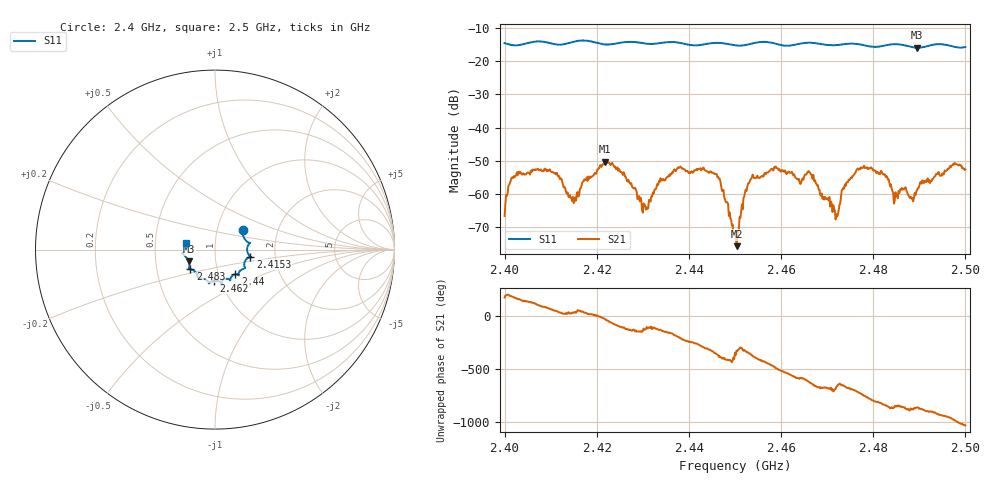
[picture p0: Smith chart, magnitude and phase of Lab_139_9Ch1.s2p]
# Hz S RI R 50
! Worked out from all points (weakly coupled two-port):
!   601 points, 2.4 GHz to 2.5 GHz, reference 50 ohm
!   highest |S21| = -50.29 dB at 2.4218 GHz (marker M1); lowest = -75.9 dB at 2.4503 GHz (marker M2)
!   lowest |S11| = -15.9 dB at 2.4895 GHz (marker M3), VSWR 1.38, Z = 36.9 - j4.99 ohm
!   |S11| at or under -10 dB: start of sweep to end of sweep
!   S12 and S22 are empty: the file has one direction only
!   S11 on the Smith chart (normalised r, x): 2.4 GHz: 1.33, +0.29; 2.4153 GHz: 1.48, -0.12; 2.44 GHz: 1.20, -0.34; 2.462 GHz: 0.93, -0.33; 2.483 GHz: 0.74, -0.17; 2.5 GHz: 0.72, +0.06
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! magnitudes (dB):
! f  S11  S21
! 2.4 GHz  -14.5  -66.7
! 2.4017 GHz  -15.1  -55.1
! 2.4068 GHz  -14.0  -52.8
! 2.4153 GHz  -14.0  -61.1
! 2.4167 GHz  -13.7  -57.7
! 2.4218 GHz  -14.9  -50.3
! 2.4303 GHz  -14.6  -63.3
! 2.4333 GHz  -14.6  -57.4
! 2.44 GHz  -15.0  -53.8
! 2.4463 GHz  -14.4  -54.9
! 2.45 GHz  -15.1  -71.7
! 2.4503 GHz  -15.2  -75.9
! 2.4533 GHz  -14.7  -55.8
! 2.462 GHz  -15.2  -53.7
! 2.4667 GHz  -14.4  -54.4
! 2.472 GHz  -15.1  -66.2
! 2.4768 GHz  -14.8  -52.8
! 2.483 GHz  -15.1  -54.8
! 2.4833 GHz  -15.0  -55.6
! 2.4848 GHz  -14.8  -59.6
! 2.4895 GHz  -15.9  -59.0
! 2.5 GHz  -15.7  -52.7
